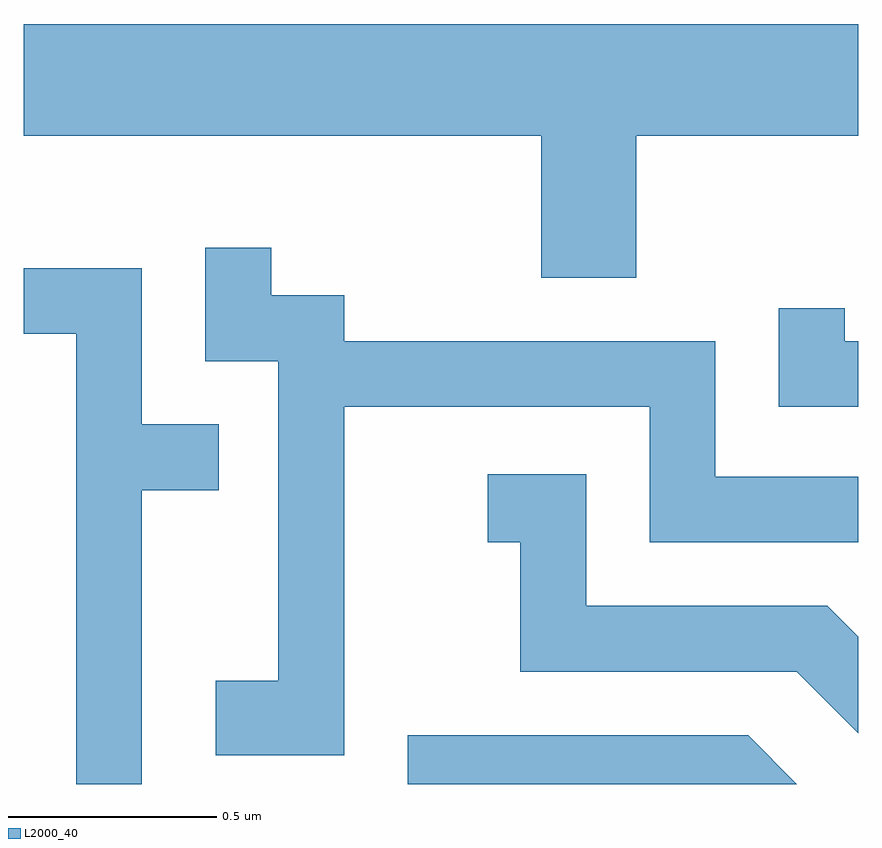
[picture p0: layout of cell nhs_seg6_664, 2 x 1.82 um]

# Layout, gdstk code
import gdstk
lib = gdstk.Library(unit=1e-6, precision=1e-09)
def P(c, l, *ps):  # polygons
    for p in ps: c.add(gdstk.Polygon(p, *l))
L2000_40 = (2000, 40)

nhs_seg6_664 = lib.new_cell('nhs_seg6_664')
P(nhs_seg6_664, L2000_40, [(191.079,1647.716),(191.611,1647.716),(191.611,1647.984),(189.611,1647.984),(189.611,1647.716),(190.851,1647.716),(190.851,1647.376),(191.079,1647.376)],
  [(190.379,1647.066),(191.111,1647.066),(191.111,1646.741),(191.611,1646.741),(191.611,1646.899),(191.269,1646.899),(191.269,1647.224),(190.379,1647.224),(190.379,1647.334),(190.204,1647.334),(190.204,1647.448),(190.046,1647.448),(190.046,1647.176),(190.221,1647.176),(190.221,1646.409),(190.071,1646.409),(190.071,1646.231),(190.379,1646.231)],
  [(189.894,1646.866),(190.078,1646.866),(190.078,1647.024),(189.894,1647.024),(189.894,1647.399),(189.611,1647.399),(189.611,1647.241),(189.736,1647.241),(189.736,1646.162),(189.894,1646.162)],
  [(191.611,1647.224),(191.579,1647.224),(191.579,1647.303),(191.421,1647.303),(191.421,1647.066),(191.611,1647.066)],
  [(191.611,1646.515),(191.537,1646.589),(190.959,1646.589),(190.959,1646.904),(190.723,1646.904),(190.723,1646.741),(190.801,1646.741),(190.801,1646.431),(191.464,1646.431),(191.611,1646.284)],
  [(191.347,1646.279),(190.531,1646.279),(190.531,1646.162),(191.464,1646.162)])

lib.write_gds('nhs_seg6_664.gds')
